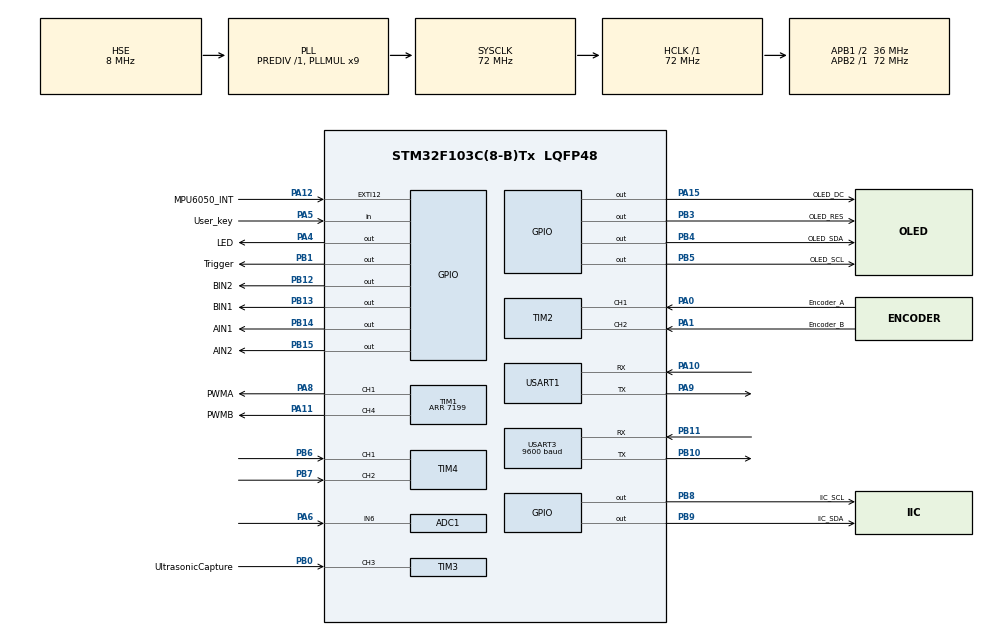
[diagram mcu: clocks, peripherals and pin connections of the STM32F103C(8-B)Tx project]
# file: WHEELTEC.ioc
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ADC1.Channel-0\#ChannelRegularConversion=ADC_CHANNEL_6
ADC1.NbrOfConversionFlag=1
ADC1.Rank-0\#ChannelRegularConversion=1
ADC1.SamplingTime-0\#ChannelRegularConversion=ADC_SAMPLETIME_1CYCLE_5
ADC1.master=1
Mcu.Family=STM32F1
Mcu.Name=STM32F103C(8-B)Tx
Mcu.Package=LQFP48
NVIC.EXTI15_10_IRQn=true\:2\:1\:true\:false\:true\:true\:true
NVIC.PriorityGroup=NVIC_PRIORITYGROUP_2
NVIC.TIM3_IRQn=true\:1\:1\:true\:false\:true\:true\:true
NVIC.USART3_IRQn=true\:1\:1\:true\:false\:true\:true\:true
PA0-WKUP.GPIO_Label=Encoder_A
PA0-WKUP.Signal=S_TIM2_CH1_ETR
PA1.GPIO_Label=Encoder_B
PA1.Signal=S_TIM2_CH2
PA10.Mode=Asynchronous
PA10.Signal=USART1_RX
PA11.GPIO_Label=PWMB
PA11.Signal=S_TIM1_CH4
PA12.GPIO_Label=MPU6050_INT
PA12.GPIO_PuPd=GPIO_PULLUP
PA12.Signal=GPXTI12
PA13.Mode=Serial_Wire
PA13.Signal=SYS_JTMS-SWDIO
PA14.Mode=Serial_Wire
PA14.Signal=SYS_JTCK-SWCLK
PA15.GPIO_Label=OLED_DC
PA15.GPIO_Speed=GPIO_SPEED_FREQ_HIGH
PA15.PinState=GPIO_PIN_SET
PA15.Signal=GPIO_Output
PA4.GPIO_Label=LED
PA4.GPIO_Speed=GPIO_SPEED_FREQ_HIGH
PA4.PinState=GPIO_PIN_SET
PA4.Signal=GPIO_Output
PA5.GPIO_Label=User_key
PA5.GPIO_PuPd=GPIO_PULLUP
PA5.Signal=GPIO_Input
PA6.Signal=ADCx_IN6
PA8.GPIO_Label=PWMA
PA8.Signal=S_TIM1_CH1
PA9.Mode=Asynchronous
PA9.Signal=USART1_TX
PB0.GPIO_Label=UltrasonicCapture
PB0.Signal=S_TIM3_CH3
PB1.GPIO_Label=Trigger
PB1.GPIO_Speed=GPIO_SPEED_FREQ_HIGH
PB1.PinState=GPIO_PIN_SET
PB1.Signal=GPIO_Output
PB10.Mode=Asynchronous
PB10.Signal=USART3_TX
PB11.Mode=Asynchronous
PB11.Signal=USART3_RX
PB12.GPIO_Label=BIN2
PB12.GPIO_Speed=GPIO_SPEED_FREQ_HIGH
PB12.PinState=GPIO_PIN_SET
PB12.Signal=GPIO_Output
PB13.GPIO_Label=BIN1
PB13.GPIO_Speed=GPIO_SPEED_FREQ_HIGH
PB13.PinState=GPIO_PIN_SET
PB13.Signal=GPIO_Output
PB14.GPIO_Label=AIN1
PB14.GPIO_Speed=GPIO_SPEED_FREQ_HIGH
PB14.PinState=GPIO_PIN_SET
PB14.Signal=GPIO_Output
PB15.GPIO_Label=AIN2
PB15.Signal=GPIO_Output
PB3.GPIO_Label=OLED_RES
PB3.GPIO_Speed=GPIO_SPEED_FREQ_HIGH
PB3.PinState=GPIO_PIN_SET
PB3.Signal=GPIO_Output
PB4.GPIO_Label=OLED_SDA
PB4.GPIO_Speed=GPIO_SPEED_FREQ_HIGH
PB4.PinState=GPIO_PIN_SET
PB4.Signal=GPIO_Output
PB5.GPIO_Label=OLED_SCL
PB5.GPIO_Speed=GPIO_SPEED_FREQ_HIGH
PB5.PinState=GPIO_PIN_SET
PB5.Signal=GPIO_Output
PB6.Signal=S_TIM4_CH1
PB7.Signal=S_TIM4_CH2
PB8.GPIO_Label=IIC_SCL
PB8.GPIO_Speed=GPIO_SPEED_FREQ_HIGH
PB8.PinState=GPIO_PIN_SET
PB8.Signal=GPIO_Output
PB9.GPIO_Label=IIC_SDA
PB9.GPIO_Speed=GPIO_SPEED_FREQ_HIGH
PB9.PinState=GPIO_PIN_SET
PB9.Signal=GPIO_Output
PD0-OSC_IN.Mode=HSE-External-Oscillator
PD0-OSC_IN.Signal=RCC_OSC_IN
PD1-OSC_OUT.Mode=HSE-External-Oscillator
PD1-OSC_OUT.Signal=RCC_OSC_OUT
ProjectManager.HeapSize=0x200
ProjectManager.StackSize=0x400
ProjectManager.TargetToolchain=STM32CubeIDE
RCC.ADCPresc=RCC_ADCPCLK2_DIV6
RCC.AHBFreq_Value=72000000
RCC.APB1CLKDivider=RCC_HCLK_DIV2
RCC.APB1Freq_Value=36000000
RCC.APB1TimFreq_Value=72000000
RCC.APB2Freq_Value=72000000
RCC.APB2TimFreq_Value=72000000
RCC.HCLKFreq_Value=72000000
RCC.PLLMUL=RCC_PLL_MUL9
RCC.PLLSourceVirtual=RCC_PLLSOURCE_HSE
RCC.SYSCLKFreq_VALUE=72000000
RCC.SYSCLKSource=RCC_SYSCLKSOURCE_PLLCLK
RCC.USBFreq_Value=72000000
SH.ADCx_IN6.0=ADC1_IN6,IN6
SH.S_TIM1_CH1.0=TIM1_CH1,PWM Generation1 CH1
SH.S_TIM1_CH4.0=TIM1_CH4,PWM Generation4 CH4
SH.S_TIM2_CH1_ETR.0=TIM2_CH1,Encoder_Interface
SH.S_TIM2_CH2.0=TIM2_CH2,Encoder_Interface
SH.S_TIM3_CH3.0=TIM3_CH3,Input_Capture3_from_TI3
SH.S_TIM4_CH1.0=TIM4_CH1,Encoder_Interface
SH.S_TIM4_CH2.0=TIM4_CH2,Encoder_Interface
TIM1.Channel-PWM\ Generation1\ CH1=TIM_CHANNEL_1
TIM1.Channel-PWM\ Generation4\ CH4=TIM_CHANNEL_4
TIM1.Period=7199
TIM2.EncoderMode=TIM_ENCODERMODE_TI12
TIM2.IC1Filter=10
TIM2.IC2Filter=10
TIM3.Channel-Input_Capture3_from_TI3=TIM_CHANNEL_3
TIM3.Prescaler=71
TIM4.EncoderMode=TIM_ENCODERMODE_TI12
TIM4.IC1Filter=10
USART1.VirtualMode=VM_ASYNC
USART3.BaudRate=9600
USART3.VirtualMode=VM_ASYNC
VP_TIM3_VS_ClockSourceINT.Mode=Internal
board=custom

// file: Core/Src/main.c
/* USER CODE BEGIN Header */
/**
  ******************************************************************************
  * @file           : main.c
  * @brief          : Main program body
  ******************************************************************************
  * @attention
  *
  * <h2><center>&copy; Copyright (c) 2022 STMicroelectronics.
  * All rights reserved.</center></h2>
  *
  * This software component is licensed by ST under BSD 3-Clause license,
  * the "License"; You may not use this file except in compliance with the
  * License. You may obtain a copy of the License at:
  *                        opensource.org/licenses/BSD-3-Clause
  *
  ******************************************************************************
  */
/* USER CODE END Header */
#include "main.h"
#include "adc.h"
#include "tim.h"
#include "usart.h"
#include "gpio.h"

/* USER CODE BEGIN PV */
u8 Way_Angle=2;                             //获取角度的算法，1：四元数  2：卡尔曼  3：互补滤波
u8 Flag_front,Flag_back,Flag_Left,Flag_Right,Flag_velocity=2; //蓝牙遥控相关的变量
u8 Flag_Stop=1,Flag_Show=0;                 //电机停止标志位和显示标志位  默认停止 显示打开
int Motor_Left,Motor_Right;                 //电机PWM变量 应是Motor的 向Moto致敬
int Temperature;                            //温度变量
int Voltage;                                //电池电压采样相关的变量
float Angle_Balance,Gyro_Balance,Gyro_Turn; //平衡倾角 平衡陀螺仪 转向陀螺仪
u32 Distance;                               //超声波测距
u8 PID_Send;
volatile u8 delay_50,delay_flag; 						//延时和调参相关变量
u8 Flag_follow=0,Flag_avoid=0;							//超声波跟随、超声波壁障标志位
u8 Flag_swing=0,Flag_job=0;								//GUAHOOK 摇摆模式 单步模式
float Velocity_Left,Velocity_Right;	//车轮速度(mm/s)
float Acceleration_Z;                       //Z轴加速度计
float Balance_Kp=22500,Balance_Kd=108,Velocity_Kp=16000,Velocity_Ki=80,Turn_Kp=4200,Turn_Kd=0;//PID参数（放大100倍）
/* USER CODE END PV */

void SystemClock_Config(void);

int main(void)
{

  /* MCU Configuration--------------------------------------------------------*/

  /* Reset of all peripherals, Initializes the Flash interface and the Systick. */
  HAL_Init();

  /* Configure the system clock */
  SystemClock_Config();

  /* Initialize all configured peripherals */
  MX_GPIO_Init();
  MX_ADC1_Init();
  MX_TIM1_Init();
  MX_TIM2_Init();
  MX_TIM3_Init();
  MX_TIM4_Init();
  MX_USART1_UART_Init();
  MX_USART3_UART_Init();
  /* USER CODE BEGIN 2 */
  HAL_NVIC_DisableIRQ(EXTI15_10_IRQn); //先关闭配置的外部中断，防止初始化过程中进入中断
  delay_init(); 						//释放SysTick，使用DWT作为HAL库时钟

  //HAL库不会自动配置部分
  HAL_ADCEx_Calibration_Start(&hadc1);//启动ADC1校准，不校准将导致ADC测量不准确

  /* PWM输出控制电机 */
  HAL_TIM_PWM_Start(&htim1,TIM_CHANNEL_1);//开启定时器1通道1的PWM输出，左轮电机使用
  HAL_TIM_PWM_Start(&htim1,TIM_CHANNEL_4);//开启定时器1通道4的PWM输出，右轮电机使用

  /* 使能编码器 */
  HAL_TIM_Encoder_Start(&htim2,TIM_CHANNEL_ALL);//开启定时器2的编码器模式
  HAL_TIM_Encoder_Start(&htim4,TIM_CHANNEL_ALL);//开启定时器4的编码器模式

  /* 使能定时器3输入捕获，用于超声波 */
  HAL_TIM_IC_Start_IT(&htim3,TIM_CHANNEL_3);//打开定时器3通道3的输入捕获中断
  HAL_TIM_Base_Start_IT(&htim3);            //打开定时器3通道3的更新中断

  OLED_Init();  						//OLED初始化
  MPU6050_initialize();           		//MPU6050初始化
  DMP_Init();                     		//初始化DMP
  RetargetInit(&huart3);				//映射printf函数到串口3中给APP使用

  /* 开启接收串口3接收中断 */
  HAL_UART_Receive_IT(&huart3,Usart3_Receive_buf,sizeof(Usart3_Receive_buf));

  HAL_NVIC_EnableIRQ(EXTI15_10_IRQn); //开启引脚外部中断
  /* USER CODE END 2 */

  /* Infinite loop */
  /* USER CODE BEGIN WHILE */
  while (1)
  {
	if(Flag_Show==0)          		//使用MiniBalance APP和OLED显示屏
	{
		 APP_Show();								//发送数据给APP
		 oled_show();          			//显示屏打开
	}
	else                      		//使用MiniBalance上位机 上位机使用的时候需要严格的时序，故此时关闭app监控部分和OLED显示屏
	{
		 DataScope();          			//开启MiniBalance上位机
	}
	delay_flag=1;
	delay_50=0;
	while(delay_flag);	     			//示波器需要50ms	高精度延时，delay函数不满足要求，故使用MPU6050中断提供50ms延时
    /* USER CODE END WHILE */

  }
}

void SystemClock_Config(void)
{
  RCC_OscInitTypeDef RCC_OscInitStruct = {0};
  RCC_ClkInitTypeDef RCC_ClkInitStruct = {0};
  RCC_PeriphCLKInitTypeDef PeriphClkInit = {0};

  /** Initializes the RCC Oscillators according to the specified parameters
  * in the RCC_OscInitTypeDef structure.
  */
  RCC_OscInitStruct.OscillatorType = RCC_OSCILLATORTYPE_HSE;
  RCC_OscInitStruct.HSEState = RCC_HSE_ON;
  RCC_OscInitStruct.HSEPredivValue = RCC_HSE_PREDIV_DIV1;
  RCC_OscInitStruct.HSIState = RCC_HSI_ON;
  RCC_OscInitStruct.PLL.PLLState = RCC_PLL_ON;
  RCC_OscInitStruct.PLL.PLLSource = RCC_PLLSOURCE_HSE;
  RCC_OscInitStruct.PLL.PLLMUL = RCC_PLL_MUL9;
  if (HAL_RCC_OscConfig(&RCC_OscInitStruct) != HAL_OK)
  {
    Error_Handler();
  }
  /** Initializes the CPU, AHB and APB buses clocks
  */
  RCC_ClkInitStruct.ClockType = RCC_CLOCKTYPE_HCLK|RCC_CLOCKTYPE_SYSCLK
                              |RCC_CLOCKTYPE_PCLK1|RCC_CLOCKTYPE_PCLK2;
  RCC_ClkInitStruct.SYSCLKSource = RCC_SYSCLKSOURCE_PLLCLK;
  RCC_ClkInitStruct.AHBCLKDivider = RCC_SYSCLK_DIV1;
  RCC_ClkInitStruct.APB1CLKDivider = RCC_HCLK_DIV2;
  RCC_ClkInitStruct.APB2CLKDivider = RCC_HCLK_DIV1;

  if (HAL_RCC_ClockConfig(&RCC_ClkInitStruct, FLASH_LATENCY_2) != HAL_OK)
  {
    Error_Handler();
  }
  PeriphClkInit.PeriphClockSelection = RCC_PERIPHCLK_ADC;
  PeriphClkInit.AdcClockSelection = RCC_ADCPCLK2_DIV6;
  if (HAL_RCCEx_PeriphCLKConfig(&PeriphClkInit) != HAL_OK)
  {
    Error_Handler();
  }
}

void Error_Handler(void)
{
  __disable_irq();
  while (1)
  {
  }
}

/************************ (C) COPYRIGHT STMicroelectronics *****END OF FILE****/
